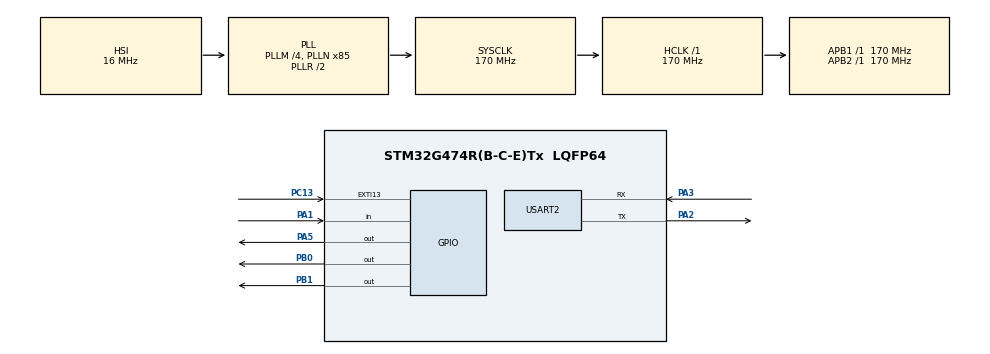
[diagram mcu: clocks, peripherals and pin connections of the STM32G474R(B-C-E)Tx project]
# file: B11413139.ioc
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Mcu.Family=STM32G4
Mcu.Name=STM32G474R(B-C-E)Tx
Mcu.Package=LQFP64
NVIC.EXTI15_10_IRQn=true\:0\:0\:false\:false\:true\:true\:true\:true
NVIC.PriorityGroup=NVIC_PRIORITYGROUP_4
NVIC.USART2_IRQn=true\:0\:0\:false\:false\:true\:true\:true\:true
PA1.GPIO_PuPd=GPIO_PULLUP
PA1.Signal=GPIO_Input
PA13.GPIO_Label=T_SWDIO
PA13.Mode=Serial_Wire
PA13.Signal=SYS_JTMS-SWDIO
PA14.GPIO_Label=T_SWCLK
PA14.Mode=Serial_Wire
PA14.Signal=SYS_JTCK-SWCLK
PA2.Mode=Asynchronous
PA2.Signal=USART2_TX
PA3.Mode=Asynchronous
PA3.Signal=USART2_RX
PA5.Signal=GPIO_Output
PB0.Signal=GPIO_Output
PB1.Signal=GPIO_Output
PB3.GPIO_Label=T_SWO
PB3.Signal=SYS_JTDO-SWO
PC13.GPIO_ModeDefaultEXTI=GPIO_MODE_IT_FALLING
PC13.Signal=GPXTI13
PC14-OSC32_IN.GPIO_Label=RCC_OSC32_IN
PC14-OSC32_IN.Signal=RCC_OSC32_IN
PC15-OSC32_OUT.GPIO_Label=RCC_OSC32_OUT
PC15-OSC32_OUT.Signal=RCC_OSC32_OUT
PF0-OSC_IN.GPIO_Label=RCC_OSC_IN
PF0-OSC_IN.Signal=RCC_OSC_IN
PF1-OSC_OUT.GPIO_Label=RCC_OSC_OUT
PF1-OSC_OUT.Signal=RCC_OSC_OUT
ProjectManager.HeapSize=0x200
ProjectManager.StackSize=0x400
ProjectManager.TargetToolchain=STM32CubeIDE
RCC.ADC12Freq_Value=170000000
RCC.ADC345Freq_Value=170000000
RCC.AHBFreq_Value=170000000
RCC.APB1Freq_Value=170000000
RCC.APB1TimFreq_Value=170000000
RCC.APB2Freq_Value=170000000
RCC.APB2TimFreq_Value=170000000
RCC.CortexFreq_Value=170000000
RCC.EXTERNAL_CLOCK_VALUE=12288000
RCC.HCLKFreq_Value=170000000
RCC.HSE_VALUE=24000000
RCC.HSI48_VALUE=48000000
RCC.HSI_VALUE=16000000
RCC.LSE_VALUE=32768
RCC.PLLM=RCC_PLLM_DIV4
RCC.PLLN=85
RCC.RTCClockSelection=RCC_RTCCLKSOURCE_LSE
RCC.SYSCLKFreq_VALUE=170000000
RCC.SYSCLKSource=RCC_SYSCLKSOURCE_PLLCLK
RCC.USBFreq_Value=170000000
RCC.VCOOutputFreq_Value=340000000
USART2.VirtualMode-Asynchronous=VM_ASYNC
VP_SYS_VS_DBSignals.Mode=DisableDeadBatterySignals
board=NUCLEO-G474RE

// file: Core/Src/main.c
/* USER CODE BEGIN Header */
/**
  ******************************************************************************
  * @file           : main.c
  * @brief          : 深夜研究室：微波爐泡麵保衛戰 (Instant Noodle Defense System)
  *                   國立雲林科技大學 電子工程系 微計算機原理及應用 期中專題
  * @target         : NUCLEO-G474RE (170 MHz Boost Mode, CMSIS 暫存器架構)
  ******************************************************************************
  */
/* USER CODE END Header */
#include "main.h"
#include "usart.h"
#include "gpio.h"

/* USER CODE BEGIN Includes */
#include <string.h>
#include <stdio.h>
/* USER CODE END Includes */

/* USER CODE BEGIN PTD */
typedef enum {
    STATE_IDLE,       // 待機閒置（綠燈呼吸，微波爐可為空，待上鎖）
    STATE_ARMED,      // 受護上鎖（泡麵在位且已鎖定，綠燈閃爍；強拔或開門直接警報）
    STATE_UNLOCKED,   // 已授權解鎖（密碼正確，綠燈恆亮，允許開門與拔起 PA1）
    STATE_ALARM       // 遭劫警報（未解鎖開門、未解鎖拔麵或錯3次，紅燈長亮+蜂鳴器狂鳴）
} SystemState;
/* USER CODE END PTD */

/* USER CODE BEGIN PD */
#define RING_BUFFER_SIZE       64
#define MAX_PASSWORD_ATTEMPTS  3
#define CMD_BUFFER_SIZE        32
/* USER CODE END PD */

/* USER CODE BEGIN PV */
volatile SystemState current_state = STATE_IDLE;
volatile SystemState last_state = (SystemState)-1;

// 密碼與防暴力破解
char stored_password[16] = "12345";
uint8_t err_count = 0;

// 按鍵去彈跳時間戳 (PC13)
volatile uint32_t last_exti_tick = 0;

// USART2 環形緩衝區 (Ring Buffer)
volatile char rx_buffer[RING_BUFFER_SIZE];
volatile uint8_t rx_head = 0;
volatile uint8_t rx_tail = 0;

// 軟體擬似 PWM 呼吸燈變數 (PA5)
uint16_t breath_duty = 0;
int8_t   breath_dir = 1;
uint32_t last_breath_tick = 0;

// 閃爍計時變數 (PA5)
uint32_t last_blink_tick = 0;
uint8_t  blink_led_state = 0;

// 警報狀態聲音計時變數 (PB1)
uint32_t last_alarm_sound_tick = 0;
uint8_t  alarm_beep_toggle = 0;
/* USER CODE END PV */

void SystemClock_Config(void);
/* USER CODE BEGIN PFP */
void UART_Send_Char(char c);
void UART_Send_String(const char *str);
void Buzzer_Beep(uint16_t duration_ms);
void Buzzer_DoubleBeep(void);
void Process_CLI_Command(char *cmd);
/* USER CODE END PFP */

/* USER CODE BEGIN 0 */
/**
 * @brief EXTI 中斷回呼函式：處理 PC13 開門事件 (門開關替身)
 */
void HAL_GPIO_EXTI_Callback(uint16_t GPIO_Pin) {
    if (GPIO_Pin == GPIO_PIN_13) {
        uint32_t now = HAL_GetTick();
        if ((now - last_exti_tick) > 200) {
            last_exti_tick = now;

            if (current_state == STATE_ARMED) {
                // 守護中強行開門 -> 遭劫警報！
                current_state = STATE_ALARM;
            } else if (current_state == STATE_UNLOCKED) {
                // 授權解鎖後開門 -> 提示取餐
                UART_Send_String("\r\n[DOOR] 主人已開門，請取出泡麵（斷開 PA1 杜邦線）。\r\n");
            }
        }
    }
}
/* USER CODE END 0 */

int main(void)
{

  /* MCU Configuration--------------------------------------------------------*/

  /* Reset of all peripherals, Initializes the Flash interface and the Systick. */
  HAL_Init();

  /* Configure the system clock */
  SystemClock_Config();

  /* Initialize all configured peripherals */
  MX_GPIO_Init();
  MX_USART2_UART_Init();
  /* USER CODE BEGIN 2 */
  // 1. 確保 GPIOB 時脈致能，並以暫存器配置 PB0(紅燈) 與 PB1(蜂鳴器) 為推挽輸出
  RCC->AHB2ENR |= RCC_AHB2ENR_GPIOBEN;

  GPIOB->MODER &= ~((3U << (0 * 2)) | (3U << (1 * 2)));
  GPIOB->MODER |=  ((1U << (0 * 2)) | (1U << (1 * 2)));
  GPIOB->OTYPER &= ~((1U << 0) | (1U << 1));
  GPIOB->OSPEEDR |= ((3U << (0 * 2)) | (3U << (1 * 2)));
  GPIOB->BSRR = (1U << (0 + 16)) | (1U << (1 + 16));     // 預設關閉紅燈與蜂鳴器

  // 2. 確保 PA1 內部上拉電阻致能
  GPIOA->PUPDR &= ~(3U << (1 * 2));
  GPIOA->PUPDR |=  (1U << (1 * 2));

  // 3. 致能 USART2 接收中斷 (RXNE) 於暫存器層級
  USART2->CR1 |= USART_CR1_RXNEIE_RXFNEIE;

  char cmd_line[CMD_BUFFER_SIZE];
  uint8_t cmd_idx = 0;

  // 開機歡迎訊息
  UART_Send_String("\r\n==============================================\r\n");
  UART_Send_String(" 深夜研究室：微波爐泡麵保衛戰 (SYSCLK: 170MHz)\r\n");
  UART_Send_String("==============================================\r\n");
  /* USER CODE END 2 */

  /* Infinite loop */
  /* USER CODE BEGIN WHILE */
  while (1)
  {
    uint32_t now = HAL_GetTick();

    /* ------------------ 1. 狀態切換介面提示 ------------------ */
    if (current_state != last_state) {
        last_state = current_state;
        switch (current_state) {
            case STATE_IDLE:
                GPIOB->BSRR = (1U << (0 + 16)) | (1U << (1 + 16));
                UART_Send_String("\r\n[STATUS: IDLE] 微波爐待機中（綠燈呼吸）\r\n");
                UART_Send_String("[PROMPT] 請放進泡麵(接上PA1杜邦線接地)並輸入: LOCK <密碼>\r\n> ");
                break;

            case STATE_ARMED:
                GPIOB->BSRR = (1U << (0 + 16)) | (1U << (1 + 16));
                err_count = 0;
                UART_Send_String("\r\n[STATUS: ARMED] 泡麵守護中（綠燈閃爍）\r\n");
                UART_Send_String("[PROMPT] 取用請輸入解鎖密碼:\r\nEnter Password > ");
                break;

            case STATE_UNLOCKED:
                GPIOB->BSRR = (1U << (0 + 16)) | (1U << (1 + 16));
                GPIOA->BSRR = (1U << 5);
                UART_Send_String("\r\n[STATUS: UNLOCKED] 授權成功！門鎖已解除（綠燈恆亮）。\r\n");
                UART_Send_String("[PROMPT] 請按 PC13 開門並拿走泡麵。\r\n> ");
                break;

            case STATE_ALARM:
                GPIOA->BSRR = (1U << (5 + 16));
                GPIOB->BSRR = (1U << 0);
                UART_Send_String("\r\n##############################################\r\n");
                UART_Send_String("#  [ALERT] 警告！偵測到未授權侵入或宵夜遭劫！  #\r\n");
                UART_Send_String("##############################################\r\n");
                UART_Send_String("[PROMPT] 輸入 RESET 解除警報:\r\n> ");
                break;
        }
    }

    /* ---------------- 2. PA1 實體托盤感應線巡檢 (杜邦線) ---------------- */
    uint8_t item_present = ((GPIOA->IDR & (1U << 1)) == 0) ? 1 : 0;

    if (current_state == STATE_ARMED) {
        // 守護狀態下：只要未解鎖就拔起 PA1 -> 立即觸發警報！
        if (!item_present) {
            current_state = STATE_ALARM;
            UART_Send_String("\r\n[SECURITY BREACH] 守護中未解鎖直接拔起泡麵！觸發警報！\r\n");
        }
    } else if (current_state == STATE_UNLOCKED) {
        // 授權解鎖後：合法拔走泡麵 -> 祝用餐愉快，順暢回到待機
        if (!item_present) {
            UART_Send_String("\r\n[WELCOME] 密碼驗證通過，泡麵已安全取出，祝用餐愉快！\r\n");
            Buzzer_Beep(100);
            current_state = STATE_IDLE;
        }
    }

    /* ------------------ 3. PA5 綠燈視覺效果更新 ------------------ */
    if (current_state == STATE_IDLE) {
        if ((now - last_breath_tick) >= 15) {
            last_breath_tick = now;
            breath_duty += breath_dir;
            if (breath_duty >= 100) { breath_duty = 100; breath_dir = -1; }
            if (breath_duty <= 0)   { breath_duty = 0;   breath_dir = 1;  }
        }
        uint32_t slice = now % 10;
        if (slice < (breath_duty / 10)) {
            GPIOA->BSRR = (1U << 5);
        } else {
            GPIOA->BSRR = (1U << (5 + 16));
        }
    } else if (current_state == STATE_ARMED) {
        if ((now - last_blink_tick) >= 250) {
            last_blink_tick = now;
            blink_led_state = !blink_led_state;
            if (blink_led_state) {
                GPIOA->BSRR = (1U << 5);
            } else {
                GPIOA->BSRR = (1U << (5 + 16));
            }
        }
    }

    /* ---------------- 4. 警報狀態持續狂鳴 (相容有源與無源蜂鳴器) ---------------- */
    if (current_state == STATE_ALARM) {
        if ((now - last_alarm_sound_tick) >= 150) {
            last_alarm_sound_tick = now;
            alarm_beep_toggle = !alarm_beep_toggle;
        }

        if (alarm_beep_toggle) {
            GPIOB->BSRR = (1U << 1);
            for (volatile int d = 0; d < 800; d++);
            GPIOB->BSRR = (1U << (1 + 16));
            for (volatile int d = 0; d < 800; d++);
        } else {
            GPIOB->BSRR = (1U << (1 + 16));
        }
    }

    /* ---------------- 5. UART 指令字串提取與解析 ---------------- */
    while (rx_tail != rx_head) {
        char c = rx_buffer[rx_tail];
        rx_tail = (rx_tail + 1) % RING_BUFFER_SIZE;

        UART_Send_Char(c);

        if (c == '\r' || c == '\n') {
            if (cmd_idx > 0) {
                cmd_line[cmd_idx] = '\0';
                Process_CLI_Command(cmd_line);
                cmd_idx = 0;
            }
        } else if (c == '\b' || c == 0x7F) {
            if (cmd_idx > 0) cmd_idx--;
        } else {
            if (cmd_idx < (CMD_BUFFER_SIZE - 1)) {
                cmd_line[cmd_idx++] = c;
            }
        }
    }
    /* USER CODE END WHILE */

  }
}

void SystemClock_Config(void)
{
  RCC_OscInitTypeDef RCC_OscInitStruct = {0};
  RCC_ClkInitTypeDef RCC_ClkInitStruct = {0};

  HAL_PWREx_ControlVoltageScaling(PWR_REGULATOR_VOLTAGE_SCALE1_BOOST);

  RCC_OscInitStruct.OscillatorType = RCC_OSCILLATORTYPE_HSI;
  RCC_OscInitStruct.HSIState = RCC_HSI_ON;
  RCC_OscInitStruct.HSICalibrationValue = RCC_HSICALIBRATION_DEFAULT;
  RCC_OscInitStruct.PLL.PLLState = RCC_PLL_ON;
  RCC_OscInitStruct.PLL.PLLSource = RCC_PLLSOURCE_HSI;
  RCC_OscInitStruct.PLL.PLLM = RCC_PLLM_DIV4;
  RCC_OscInitStruct.PLL.PLLN = 85;
  RCC_OscInitStruct.PLL.PLLP = RCC_PLLP_DIV2;
  RCC_OscInitStruct.PLL.PLLQ = RCC_PLLQ_DIV2;
  RCC_OscInitStruct.PLL.PLLR = RCC_PLLR_DIV2;
  if (HAL_RCC_OscConfig(&RCC_OscInitStruct) != HAL_OK)
  {
    Error_Handler();
  }

  RCC_ClkInitStruct.ClockType = RCC_CLOCKTYPE_HCLK|RCC_CLOCKTYPE_SYSCLK
                              |RCC_CLOCKTYPE_PCLK1|RCC_CLOCKTYPE_PCLK2;
  RCC_ClkInitStruct.SYSCLKSource = RCC_SYSCLKSOURCE_PLLCLK;
  RCC_ClkInitStruct.AHBCLKDivider = RCC_SYSCLK_DIV1;
  RCC_ClkInitStruct.APB1CLKDivider = RCC_HCLK_DIV1;
  RCC_ClkInitStruct.APB2CLKDivider = RCC_HCLK_DIV1;

  if (HAL_RCC_ClockConfig(&RCC_ClkInitStruct, FLASH_LATENCY_4) != HAL_OK)
  {
    Error_Handler();
  }
}

/* USER CODE BEGIN 4 */
/**
 * @brief CLI 命令邏輯解析
 */
void Process_CLI_Command(char *cmd) {
    UART_Send_String("\r\n");

    if (strcmp(cmd, "STATUS") == 0) {
        char buf[96];
        snprintf(buf, sizeof(buf), "[STATUS] 核心:170MHz | 狀態:%d | 托盤:%s\r\n",
                 current_state,
                 ((GPIOA->IDR & (1U << 1)) == 0) ? "泡麵在位" : "空置");
        UART_Send_String(buf);
        return;
    }

    if (strcmp(cmd, "RESET") == 0) {
        current_state = STATE_IDLE;
        err_count = 0;
        GPIOB->BSRR = (1U << (0 + 16)) | (1U << (1 + 16));
        UART_Send_String("[SYSTEM] 系統已重設為待機模式。\r\n");
        return;
    }

    if (current_state == STATE_IDLE) {
        if (strncmp(cmd, "LOCK", 4) == 0) {
            // 上鎖時檢查泡麵是否已放入 (PA1 接地)
            if ((GPIOA->IDR & (1U << 1)) != 0) {
                UART_Send_String("[ERROR] 托盤未感應到泡麵！請先將 PA1 杜邦線插上接地(GND)。\r\n> ");
                return;
            }

            char *p = cmd + 4;
            while (*p == ' ') p++;
            if (strlen(p) > 0) {
                strncpy(stored_password, p, sizeof(stored_password) - 1);
            } else {
                strcpy(stored_password, "12345");
            }

            Buzzer_Beep(100);
            current_state = STATE_ARMED;
        } else {
            UART_Send_String("[HELP] 待機中，請輸入: LOCK <密碼>\r\n> ");
        }
    } else if (current_state == STATE_ARMED) {
        if (strcmp(cmd, stored_password) == 0) {
            Buzzer_Beep(100);
            err_count = 0;
            current_state = STATE_UNLOCKED;
        } else {
            err_count++;
            if (err_count < MAX_PASSWORD_ATTEMPTS) {
                Buzzer_DoubleBeep();
                char err_msg[96];
                snprintf(err_msg, sizeof(err_msg), "[DENIED] 密碼錯誤！剩餘嘗試次數: %d\r\nEnter Password > ",
                         MAX_PASSWORD_ATTEMPTS - err_count);
                UART_Send_String(err_msg);
            } else {
                current_state = STATE_ALARM;
            }
        }
    } else if (current_state == STATE_ALARM) {
        UART_Send_String("[ALERT] 警報狂鳴中！請輸入 RESET 復原系統。\r\n> ");
    }
}

void UART_Send_Char(char c) {
    while (!(USART2->ISR & USART_ISR_TXE_TXFNF));
    USART2->TDR = c;
}

void UART_Send_String(const char *str) {
    while (*str) {
        UART_Send_Char(*str++);
    }
}

void Buzzer_Beep(uint16_t duration_ms) {
    uint32_t start = HAL_GetTick();
    while ((HAL_GetTick() - start) < duration_ms) {
        GPIOB->BSRR = (1U << 1);
        for (volatile int i = 0; i < 1500; i++);
        GPIOB->BSRR = (1U << (1 + 16));
        for (volatile int i = 0; i < 1500; i++);
    }
}

void Buzzer_DoubleBeep(void) {
    Buzzer_Beep(80);
    HAL_Delay(70);
    Buzzer_Beep(80);
}
/* USER CODE END 4 */

void Error_Handler(void)
{
  __disable_irq();
  while (1)
  {
  }
}
